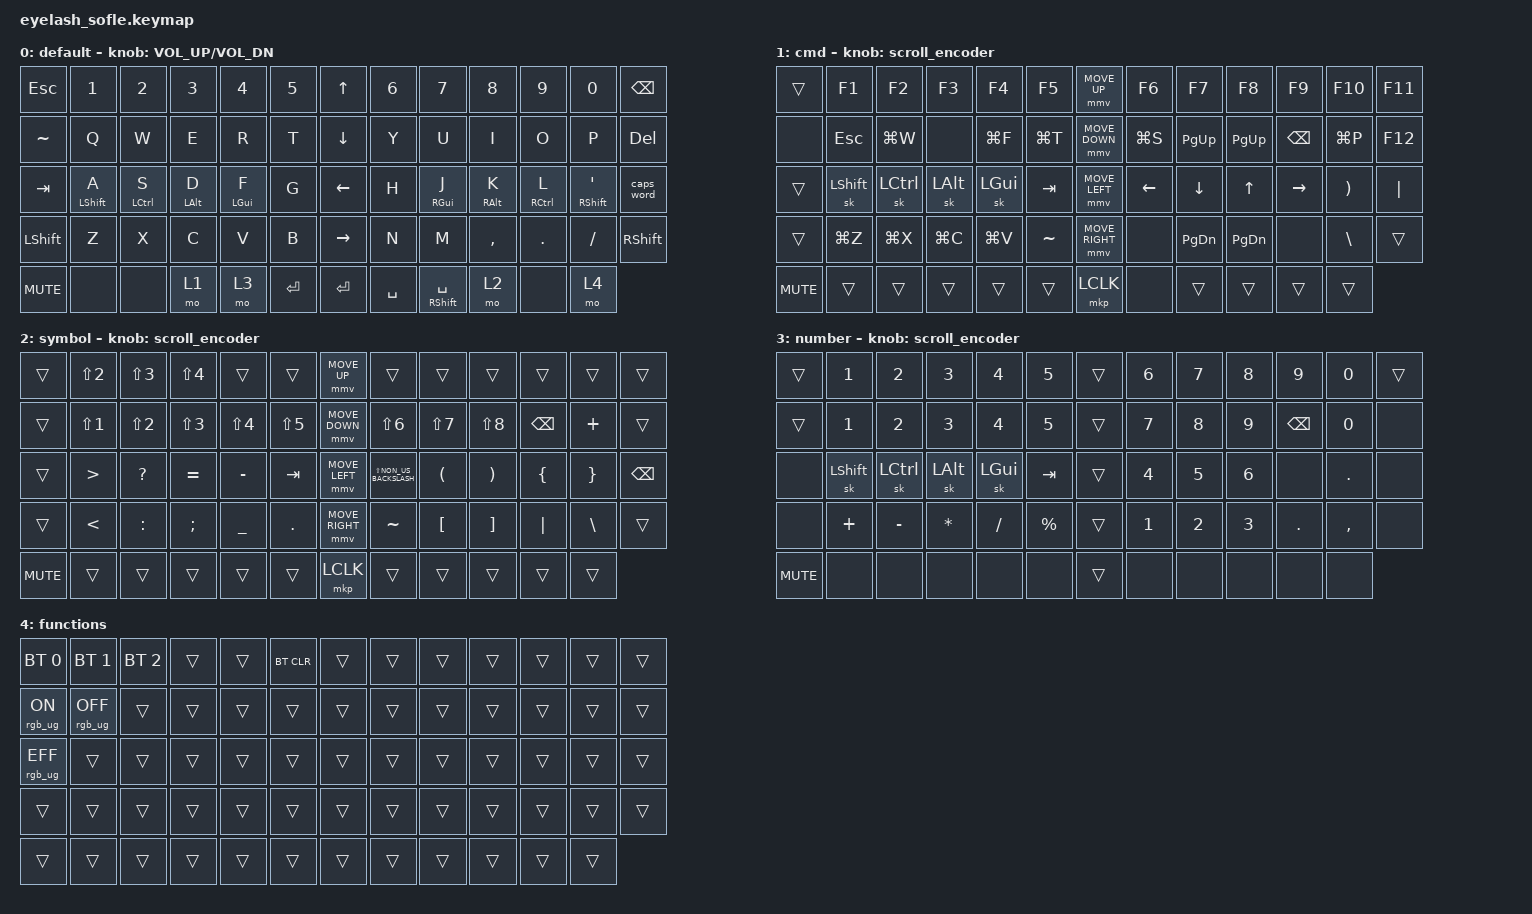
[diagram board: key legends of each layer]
#define ZMK_POINTING_DEFAULT_MOVE_VAL 1200  // 600
#define ZMK_POINTING_DEFAULT_SCRL_VAL 25   // 10

#include <input/processors.dtsi>
#include <zephyr/dt-bindings/input/input-event-codes.h>
#include <behaviors.dtsi>
#include <dt-bindings/zmk/bt.h>
#include <dt-bindings/zmk/keys.h>
#include <dt-bindings/zmk/pointing.h>
#include <dt-bindings/zmk/rgb.h>

&mmv_input_listener { input-processors = <&zip_xy_scaler 2 1>; };

&msc_input_listener { input-processors = <&zip_scroll_scaler 2 1>; };

&msc {
    acceleration-exponent = <1>;      // 0
    time-to-max-speed-ms = <100>;       // 300
    delay-ms = <0>;                   // 0
};

&mmv {
    time-to-max-speed-ms = <500>;
    acceleration-exponent = <1>;
    trigger-period-ms = <16>;
};

&soft_off { hold-time-ms = <2000>; };

/ {
    scroll_encoder: scroll_encoder {
        compatible = "zmk,behavior-sensor-rotate";
        #sensor-binding-cells = <0>;
        bindings = <&msc SCRL_DOWN>, <&msc SCRL_UP>;

        tap-ms = <100>;
    };

    behaviors {
        hrm: home_row_mod {
            compatible = "zmk,behavior-hold-tap";
            #binding-cells = <2>;
            flavor = "balanced";
            tapping-term-ms = <280>;
            quick-tap-ms = <175>;
            require-prior-idle-ms = <150>;
            bindings = <&kp>, <&kp>;

            label = "HOME_ROW_MOD";
        };

        hrm_sk: home_row_sticky_mod {
            compatible = "zmk,behavior-hold-tap";
            #binding-cells = <2>;
            flavor = "balanced";
            tapping-term-ms = <280>;
            quick-tap-ms = <175>;
            require-prior-idle-ms = <150>;
            bindings = <&sk>, <&kp>;

            label = "HOME_ROW_STICKY_MOD";
        };
    };

    combos {
        compatible = "zmk,combos";

        softoff {
            bindings = <&soft_off>;
            key-positions = <14 28 40>;
        };

        jk-to-esc {
            bindings = <&kp ESCAPE>;
            key-positions = <34 35>;
        };
    };

    macros {
        SHIFT_MCLK: SHIFT_MCLK {
            compatible = "zmk,behavior-macro";
            #binding-cells = <0>;
            bindings =
                <&macro_press>,
                <&kp LEFT_SHIFT>,
                <&macro_press>,
                <&mkp MB3>,
                <&macro_pause_for_release>,
                <&macro_release>,
                <&kp LEFT_SHIFT &mkp MB3>;

            label = "SHIFT_MCLK";
        };
    };

    keymap {
        compatible = "zmk,keymap";

        default_layer {
            bindings = <
&kp ESCAPE      &kp N1             &kp N2        &kp N3       &kp N4          &kp N5       &kp UP_ARROW     &kp N6     &kp N7                 &kp N8       &kp N9        &kp N0          &kp BACKSPACE
&kp TILDE       &kp Q              &kp W         &kp E        &kp R           &kp T        &kp DOWN_ARROW   &kp Y      &kp U                  &kp I        &kp O         &kp P           &kp DEL
&kp TAB         &hrm LEFT_SHIFT A  &hrm LCTRL S  &hrm LALT D  &hrm LGUI F  &kp G        &kp LEFT_ARROW   &kp H      &hrm RGUI J         &hrm RALT K  &hrm RCTRL L  &hrm RSHFT SQT  &caps_word
&kp LEFT_SHIFT  &kp Z              &kp X         &kp C        &kp V           &kp B        &kp RIGHT_ARROW  &kp N      &kp M                  &kp COMMA    &kp DOT       &kp FSLH        &kp RSHFT
&kp C_MUTE      &none              &none         &mo 1        &mo 3           &kp ENTER    &kp ENTER        &kp SPACE  &mt RIGHT_SHIFT SPACE  &mo 2        &none         &mo 4
            >;

            sensor-bindings = <&inc_dec_kp C_VOLUME_UP C_VOL_DN>;
            display-name = "default";
        };

        cmd_layer {
            bindings = <
&trans      &kp F1          &kp F2     &kp F3        &kp F4        &kp F5       &mmv MOVE_UP     &kp F6     &kp F7         &kp F8         &kp F9         &kp F10    &kp F11
&none       &kp ESCAPE      &kp LG(W)  &none         &kp LG(F)     &kp LG(T)    &mmv MOVE_DOWN   &kp LG(S)  &kp PG_UP      &kp PAGE_UP    &kp BACKSPACE  &kp LG(P)  &kp F12
&trans      &sk LEFT_SHIFT  &sk LCTRL  &sk LEFT_ALT  &sk LEFT_GUI  &kp TAB      &mmv MOVE_LEFT   &kp LEFT   &kp DOWN       &kp UP         &kp RIGHT      &kp RPAR   &kp PIPE
&trans      &kp LG(Z)       &kp LG(X)  &kp LG(C)     &kp LG(V)     &kp TILDE    &mmv MOVE_RIGHT  &none      &kp PAGE_DOWN  &kp PAGE_DOWN  &none          &kp BSLH   &trans
&kp C_MUTE  &trans          &trans     &trans        &trans        &trans       &mkp LCLK        &none      &trans         &trans         &trans         &trans
            >;

            display-name = "cmd";
            sensor-bindings = <&scroll_encoder>;
        };

        symbol_layer {
            bindings = <
&trans      &kp LS(N2)  &kp LS(N3)  &kp LS(N4)     &trans          &trans        &mmv MOVE_UP     &trans                    &trans      &trans      &trans         &trans    &trans
&trans      &kp LS(N1)  &kp LS(N2)  &kp LS(N3)     &kp LS(N4)      &kp LS(N5)    &mmv MOVE_DOWN   &kp LS(N6)                &kp LS(N7)  &kp LS(N8)  &kp BACKSPACE  &kp PLUS  &trans
&trans      &kp GT      &kp QMARK   &kp EQUAL      &kp MINUS       &kp TAB       &mmv MOVE_LEFT   &kp LS(NON_US_BACKSLASH)  &kp LPAR    &kp RPAR    &kp LBRC       &kp RBRC  &kp BSPC
&trans      &kp LT      &kp COLON   &kp SEMICOLON  &kp UNDERSCORE  &kp PERIOD    &mmv MOVE_RIGHT  &kp TILDE                 &kp LBKT    &kp RBKT    &kp PIPE       &kp BSLH  &trans
&kp C_MUTE  &trans      &trans      &trans         &trans          &trans        &mkp LCLK        &trans                    &trans      &trans      &trans         &trans
            >;

            display-name = "symbol";
            sensor-bindings = <&scroll_encoder>;
        };

        number_layer {
            bindings = <
&trans      &kp NUMBER_1    &kp NUMBER_2  &kp NUMBER_3  &kp NUMBER_4  &kp N5         &trans  &kp NUMBER_6  &kp N7  &kp N8  &kp N9         &kp N0      &trans
&trans      &kp N1          &kp N2        &kp N3        &kp N4        &kp N5         &trans  &kp N7        &kp N8  &kp N9  &kp BACKSPACE  &kp N0      &none
&none       &sk LEFT_SHIFT  &sk LCTRL     &sk LEFT_ALT  &sk LGUI      &kp TAB        &trans  &kp N4        &kp N5  &kp N6  &none          &kp PERIOD  &none
&none       &kp PLUS        &kp MINUS     &kp ASTERISK  &kp SLASH     &kp PERCENT    &trans  &kp N1        &kp N2  &kp N3  &kp PERIOD     &kp COMMA   &none
&kp C_MUTE  &none           &none         &none         &none         &none          &trans  &none         &none   &none   &none          &none
            >;

            display-name = "number";
            sensor-bindings = <&scroll_encoder>;
        };

        functions {
            bindings = <
&bt BT_SEL 0     &bt BT_SEL 1     &bt BT_SEL 2  &trans  &trans  &bt BT_CLR    &trans  &trans  &trans  &trans  &trans  &trans  &trans
&rgb_ug RGB_ON   &rgb_ug RGB_OFF  &trans        &trans  &trans  &trans        &trans  &trans  &trans  &trans  &trans  &trans  &trans
&rgb_ug RGB_EFF  &trans           &trans        &trans  &trans  &trans        &trans  &trans  &trans  &trans  &trans  &trans  &trans
&trans           &trans           &trans        &trans  &trans  &trans        &trans  &trans  &trans  &trans  &trans  &trans  &trans
&trans           &trans           &trans        &trans  &trans  &trans        &trans  &trans  &trans  &trans  &trans  &trans
            >;
        };
    };
};
